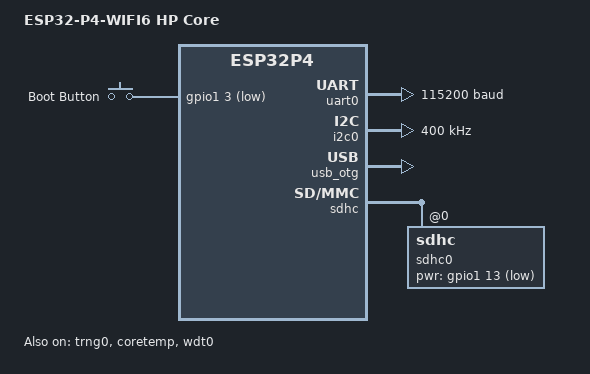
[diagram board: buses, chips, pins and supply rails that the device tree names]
/*
 * Copyright (c) 2026 Hongquan Li
 *
 * SPDX-License-Identifier: Apache-2.0
 */

/dts-v1/;

#include <espressif/esp32p4/esp32p4_n32r32.dtsi>
#include "esp32p4_wifi6_esp32p4_hpcore-pinctrl.dtsi"
#include <zephyr/dt-bindings/input/input-event-codes.h>
#include <espressif/partitions_0x2000_default_32M.dtsi>

/ {
	model = "ESP32-P4-WIFI6 HP Core";
	compatible = "espressif,esp32p4";

	chosen {
		zephyr,sram = &sramhp;
		zephyr,console = &uart0;
		zephyr,shell-uart = &uart0;
		zephyr,flash = &flash0;
		zephyr,code-partition = &slot0_partition;
	};

	aliases {
		sdhc0 = &sdhc0;
		sw0 = &boot_button;
		watchdog0 = &wdt0;
	};

	gpio_keys {
		compatible = "gpio-keys";

		boot_button: button {
			label = "Boot Button";
			gpios = <&gpio1 3 (GPIO_PULL_UP | GPIO_ACTIVE_LOW)>;
			zephyr,code = <INPUT_KEY_0>;
		};
	};
};

/* Pre-v3 (v1.3) silicon: valid CPU frequencies are 90/180/360 MHz */
&cpu0 {
	clock-frequency = <DT_FREQ_M(360)>;
};

&cpu1 {
	clock-frequency = <DT_FREQ_M(360)>;
};

&uart0 {
	status = "okay";
	current-speed = <115200>;
	pinctrl-0 = <&uart0_default>;
	pinctrl-names = "default";
};

&i2c0 {
	status = "okay";
	clock-frequency = <I2C_BITRATE_FAST>;
	pinctrl-0 = <&i2c0_default>;
	pinctrl-names = "default";
};

&i2s0 {
	status = "disabled";
	pinctrl-0 = <&i2s0_default>;
	pinctrl-names = "default";
};

&spi2 {
	status = "disabled";
};

&trng0 {
	status = "okay";
};

&coretemp {
	status = "okay";
};

&gpio0 {
	status = "okay";
};

&gpio1 {
	status = "okay";
};

&wdt0 {
	status = "okay";
};

&dma {
	status = "okay";
};

&dma_axi {
	status = "okay";
};

zephyr_udc0: &usb_otg {
	status = "okay";
};

&sdhc {
	sdhc0: sdhc@0 {
		status = "okay";
		bus-width = <4>;
		max-bus-freq = <40000000>;
		/* GPIO45: SD card power enable (active-low) */
		pwr-gpios = <&gpio1 13 GPIO_ACTIVE_LOW>;
		clk-pin = <43>;
		cmd-pin = <44>;
		d0-pin = <39>;
		d1-pin = <40>;
		d2-pin = <41>;
		d3-pin = <42>;

		mmc {
			compatible = "zephyr,sdmmc-disk";
			disk-name = "SD";
			status = "okay";
		};
	};
};

&ldo {
	status = "okay";

	ldo1@1 {
		reg = <1>;
		regulator-name = "ldo1";
		regulator-init-microvolt = <3300000>;
		regulator-boot-on;
		regulator-always-on;
	};

	ldo2@2 {
		reg = <2>;
		regulator-name = "ldo2";
		regulator-init-microvolt = <1800000>;
		regulator-boot-on;
		regulator-always-on;
	};

	ldo4@4 {
		reg = <4>;
		regulator-name = "ldo4";
		regulator-init-microvolt = <3300000>;
		regulator-boot-on;
		regulator-always-on;
	};
};
